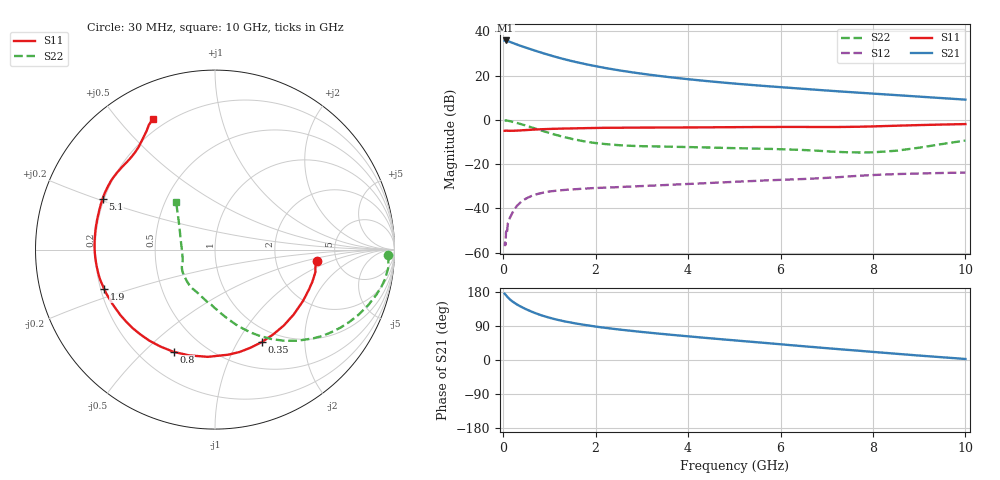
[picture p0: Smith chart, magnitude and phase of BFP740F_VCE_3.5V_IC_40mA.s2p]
! Infineon Technologies  Discrete & RF Semiconductors
! BFP740F
! VCE =  3.5 V,  IC =  40 mA
! Common Emitter S-Parameters:  Oct 2012
# GHz  S  MA  R  50
!  f  S11  S21  S12  S22
! GHz  MAG  ANG  MAG  ANG  MAG  ANG  MAG  ANG
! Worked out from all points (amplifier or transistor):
!   99 points, 30 MHz to 10 GHz, reference 50 ohm
!   highest |S21| = 35.9 dB at 50 MHz (marker M1)
!   |S21| within 3 dB of that: start of sweep to 455.8 MHz
!   unconditionally stable (mu >= 1): 4.87 GHz to end of sweep
!   at 350 MHz: K = 0.23, MSG = 35.7 dB, |S12| = -37.8 dB
!   at 3.5 GHz: K = 0.85, MSG = 24.5 dB, |S12| = -29.4 dB
!   at 10 GHz: K = 1.14, MAG = 14.2 dB, |S12| = -23.8 dB
!   S11 on the Smith chart (normalised r, x): 30 MHz: 3.52, -0.65; 350 MHz: 0.82, -1.27; 800 MHz: 0.34, -0.62; 1.9 GHz: 0.21, -0.16; 5.1 GHz: 0.19, +0.21; 10 GHz: 0.15, +0.62
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0.03  0.5695 -6.3  62.33 175.1  0.0014 68.0  0.9664 -1.7
0.05  0.5683 -10.3  62.59 172.4  0.0015 85.3  0.9685 -4.3
0.07  0.572 -14.6  62.24 169.5  0.0031 88.0  0.9691 -6.8
0.1  0.5692 -20.9  60.7 165.3  0.0046 81.8  0.9591 -10.3
0.15  0.5677 -30.5  57.99 159.4  0.0063 75.8  0.9344 -15.5
0.2  0.5684 -39.5  55.29 154.5  0.008 73.9  0.9073 -20.1
0.25  0.5708 -47.8  52.91 150.2  0.0098 70.3  0.8789 -24.3
0.35  0.5775 -63.3  48.26 142.9  0.0129 64.7  0.8233 -31.9
0.45  0.5867 -76.6  44.52 136.6  0.0157 59.3  0.7675 -38.8
0.6  0.5988 -93.8  39.51 128.3  0.0189 52.8  0.6849 -47.9
0.8  0.6146 -111.9  33.82 119.1  0.0219 46.1  0.5878 -57.9
1  0.6256 -125.8  29.21 111.6  0.0241 41.2  0.5066 -66.3
1.2  0.6341 -136.5  25.49 105.4  0.0254 38.0  0.4418 -73.5
1.4  0.6409 -145.1  22.49 100.3  0.0265 35.6  0.3915 -79.7
1.7  0.6491 -155.1  19.03 93.8  0.0278 33.8  0.3357 -88.1
1.9  0.6552 -160.5  17.23 90.1  0.0286 32.8  0.3099 -93.4
2.6  0.6672 -174.3  12.77 79.2  0.0307 31.9  0.2653 -109.1
3.4  0.6731 174.4  9.811 69.2  0.0334 32.6  0.2506 -120.4
5.1  0.6878 155.6  6.508 50.8  0.0404 33.8  0.2291 -136.8
6.7  0.6929 139.5  4.865 34.3  0.0472 33.8  0.2039 -154.5
8.5  0.7393 122.8  3.64 16.5  0.0596 29.2  0.2011 162.4
10  0.8057 115.4  2.875 2.7  0.0646 23.0  0.3426 129.3
